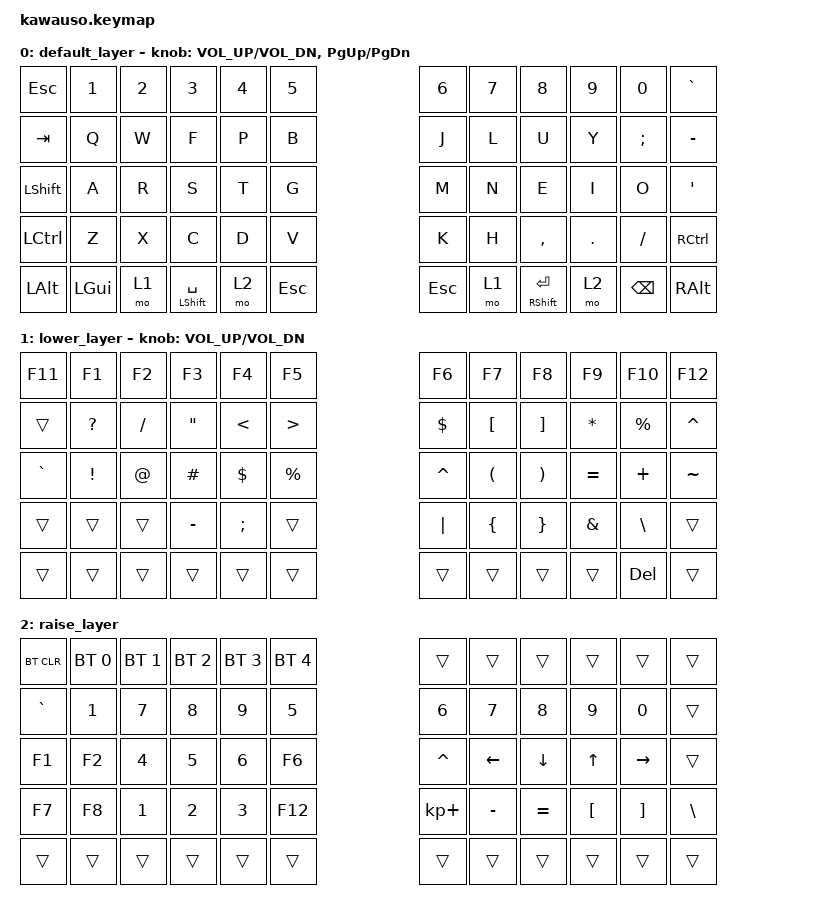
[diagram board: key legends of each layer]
#include <behaviors.dtsi>
#include <dt-bindings/zmk/keys.h>
#include <dt-bindings/zmk/bt.h>

/ {
    sensor-bindings = <&inc_dec_kp C_VOL_UP C_VOL_DN>;
    keymap {
        compatible = "zmk,keymap";

        default_layer {
// -------------------------------------------------------------------------------------------------------------------------------------------------------------------- 
// |   ESC   |    1    |    2    |    3    |    4    |    5    |                                                        |    6    |    7    |    8    |    9    |    0    |    `    |
// |   TAB   |    Q    |    W    |    F    |    P    |    B    |                                                        |    J    |    L    |    U    |    Y    |    ;    |    -    |
// |  SHIFT  |    A    |    R    |    S    |    T    |    G    |                                                        |    M    |    N    |    E    |    I    |    O    |    '    |
// |  LCTRL  |    Z    |    X    |    C    |    D    |    V    |   ESC   |                                    |   ESC   |    K    |    H    |    ,    |    .    |    /    |  RCTRL  |
//                     |  LALT   |   GUI   |  LOWER  |  SPACE  |  RAISE  | ESCAPE  |                |  RETURN |  LOWER  |   RET   |  RAISE  |   BSPC  |  RALT   |
            bindings = <
    &kp ESC    &kp N1   &kp N2   &kp N3    &kp N4    &kp N5                                                                   &kp N6    &kp N7    &kp N8    &kp N9    &kp N0    &kp GRAVE
    &kp TAB    &kp Q    &kp W    &kp F     &kp P     &kp B                                                                    &kp J     &kp L     &kp U     &kp Y     &kp SEMI &kp MINUS
    &kp LSHIFT &kp A    &kp R    &kp S     &kp T     &kp G                                                                    &kp M     &kp N     &kp E     &kp I     &kp O    &kp SQT
    &kp LCTRL  &kp Z    &kp X    &kp C     &kp D     &kp V                                                                    &kp K     &kp H     &kp COMMA &kp DOT   &kp FSLH &kp RCTRL
                                 &kp LALT  &kp LGUI   &mo 1 &mt LSHIFT SPACE &mo 2 &kp ESC    &kp ESC &mo 1 &mt RSHIFT RETURN &mo 2     &kp BSPC  &kp RALT
            >;

            sensor-bindings = <&inc_dec_kp C_VOL_UP C_VOL_DN &inc_dec_kp PG_UP PG_DN>;
        };

        lower_layer {
// ------------------------------------------------------------------------------------------------------------
// |  F11  |  F1 |  F2 |  F3  |  F4  |  F5  |                   |  F6  |  F7   |  F8   |  F9  |  F10  |  F12  |
// |       |  ?  |  /  |  "   |  <   |  >   |                   |  $   |  [    |  ]    |  *   |   %   |   °   |
// |   `   |  !  |  @  | \#   |  $   |  %   |                   |  ^   |  (    |  )    |  =   |   +   |   ~   |
// |       |     |     |  -   |  ;   |      |        |  |       |  |   |  {    |  }    |  &   |   \   |       |
//                     |      |      |      |        |  |       |      |       |       |
            bindings = <
    &kp F11    &kp F1           &kp F2            &kp F3            &kp F4       &kp F5                           &kp F6     &kp F7    &kp F8    &kp F9    &kp F10   &kp F12
    &trans     &kp QUESTION     &kp SLASH         &kp DOUBLE_QUOTES &kp LT       &kp GT                           &kp DOLLAR &kp LBKT  &kp RBKT  &kp ASTRK &kp PRCNT &kp CARET
    &kp GRAVE  &kp EXCL         &kp AT            &kp HASH          &kp DOLLAR   &kp PRCNT                        &kp CARET  &kp LPAR  &kp RPAR  &kp EQUAL &kp PLUS  &kp TILDE
    &trans     &trans           &trans            &kp MINUS         &kp SEMI     &trans                           &kp PIPE   &kp LBRC  &kp RBRC  &kp AMPS  &kp BSLH  &trans
                                &trans            &trans       &trans    &trans   &trans    &trans      &trans    &trans &trans    &trans    &kp DEL    &trans
            >;

            sensor-bindings = <&inc_dec_kp C_VOL_UP C_VOL_DN>;
        };

        raise_layer {
// ------------------------------------------------------------------------------------------------------------
// | BTCLR | BT1 | BT2 |  BT3 |  BT4 |  BT5 |                   |      |       |       |      |       |       |
// |   `   |  1  |  2  |  3   |  4   |  5   |                   |  6   |   7   |   8   |  9   |   0   |       |
// |   F1  |  F2 |  F3 |  F4  |  F5  |  F6  |                   |  ^   |   <-  |   v   |  ^   |  ->   |       |
// |   F7  |  F8 |  F9 |  F10 |  F11 |  F12 |        |  |       |  +   |   -   |   =   |  [   |   ]   |   \   |
//                     |      |      |      |        |  |       |      |       |       |
            bindings = <
&bt BT_CLR &bt BT_SEL 0 &bt BT_SEL 1 &bt BT_SEL 2  &bt BT_SEL 3 &bt BT_SEL 4 &trans      &trans    &trans    &trans   &trans    &trans
&kp GRAVE &kp N1 &kp N7 &kp N8  &kp N9  &kp N5                               &kp N6      &kp N7    &kp N8    &kp N9   &kp N0    &trans
&kp F1    &kp F2 &kp N4 &kp N5  &kp N6  &kp F6                               &kp CARET   &kp LEFT  &kp DOWN  &kp UP   &kp RIGHT &trans
&kp F7    &kp F8 &kp N1 &kp N2  &kp N3 &kp F12                              &kp KP_PLUS &kp MINUS &kp EQUAL &kp LBKT &kp RBKT  &kp BSLH
                 &trans &trans  &trans  &trans  &trans &trans      &trans  &trans   &trans   &trans     &trans   &trans  
            >;
        };
    };
};
